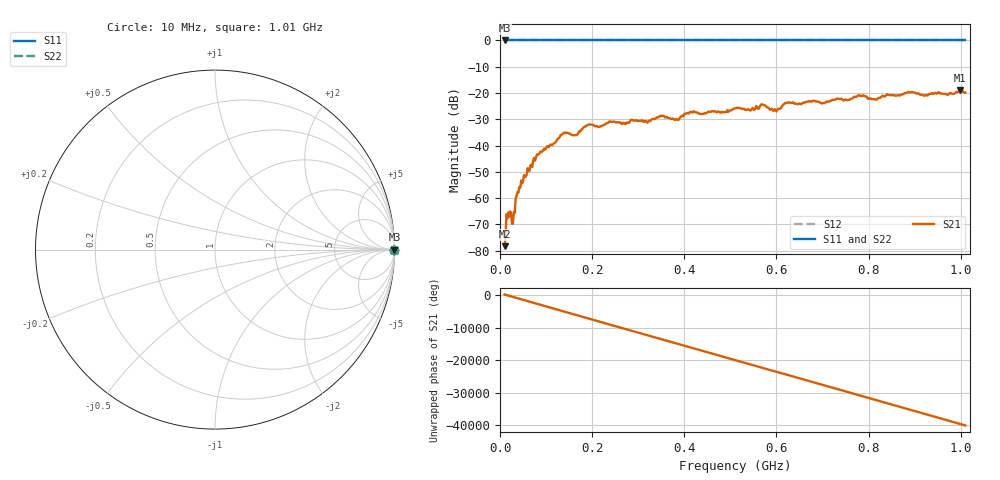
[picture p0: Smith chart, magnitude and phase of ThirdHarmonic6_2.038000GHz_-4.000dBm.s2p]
! 8/17/2025 12:26:35 AM
! C:\ANRITSUVNA\TEMP\TEMP.S2P
! CHANNEL.1
! TR.MEASUREMENT
! RAW.DATA
! RF.CORRECTION.OFF
! AVERAGING.OFF
! IF.BANDWIDTH: 5KHZ
! SWEEPTYPE:  FREQ.SWEEP(Linear)
! Reference Plane Port Info
! PORT:  PORT1  PORT2
! DISTANCE:  0  m  0  m
! TIME:  0  s  0  s
! PHASE.OFFSET:  0  deg.  0  deg.
! LOSS:  0  dB  0  dB
! REF.LOSS:  0  dB  0  dB
! REF.FREQ:  0  Hz  0  Hz
! Power Info
! POWER:  -20  dBm  -20  dBm
! EFF.POWER:  -20  dBm  -20  dBm
! SOURCE.ATTEN:  0  dB  0  dB
! TEST.ATTEN:  0  dB  0  dB
# GHZ S RI R 50.0
! FREQ.GHZ  S11RE  S11IM  S21RE  S21IM  S12RE  S12IM  S22RE  S22IM
!; PortSelection: Port_12
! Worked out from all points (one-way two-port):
!   501 points, 10 MHz to 1.01 GHz, reference 50 ohm
!   highest |S21| = -18.82 dB at 998 MHz (marker M1); lowest = -78.2 dB at 10 MHz (marker M2)
!   lowest |S11| = 0.0 dB at 10 MHz (marker M3)
!   |S11| at or under -10 dB: nowhere
!   |S22| runs from 0.0 to 0.0 dB; largest |S21 - S12| = 1.1
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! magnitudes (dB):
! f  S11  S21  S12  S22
! 10 MHz  0.0  -78.2  0.0  0.0
! 18 MHz  0.0  -65.4  0.0  0.0
! 28 MHz  0.0  -69.7  0.0  0.0
! 42 MHz  0.0  -55.8  0.0  0.0
! 76 MHz  0.0  -45.7  0.0  0.0
! 136 MHz  0.0  -35.5  0.0  0.0
! 164 MHz  0.0  -36.0  0.0  0.0
! 178 MHz  0.0  -33.8  0.0  0.0
! 192 MHz  0.0  -32.0  0.0  0.0
! 344 MHz  0.0  -29.2  0.0  0.0
! 384 MHz  0.0  -30.0  0.0  0.0
! 416 MHz  0.0  -27.4  0.0  0.0
! 510 MHz  0.0  -25.8  0.0  0.0
! 570 MHz  0.0  -24.4  0.0  0.0
! 596 MHz  0.0  -26.1  0.0  0.0
! 622 MHz  0.0  -23.8  0.0  0.0
! 678 MHz  0.0  -23.0  0.0  0.0
! 782 MHz  0.0  -21.0  0.0  0.0
! 814 MHz  0.0  -22.4  0.0  0.0
! 844 MHz  0.0  -20.8  0.0  0.0
! 998 MHz  0.0  -18.8  0.0  0.0
! 1.01 GHz  0.0  -19.8  0.0  0.0
